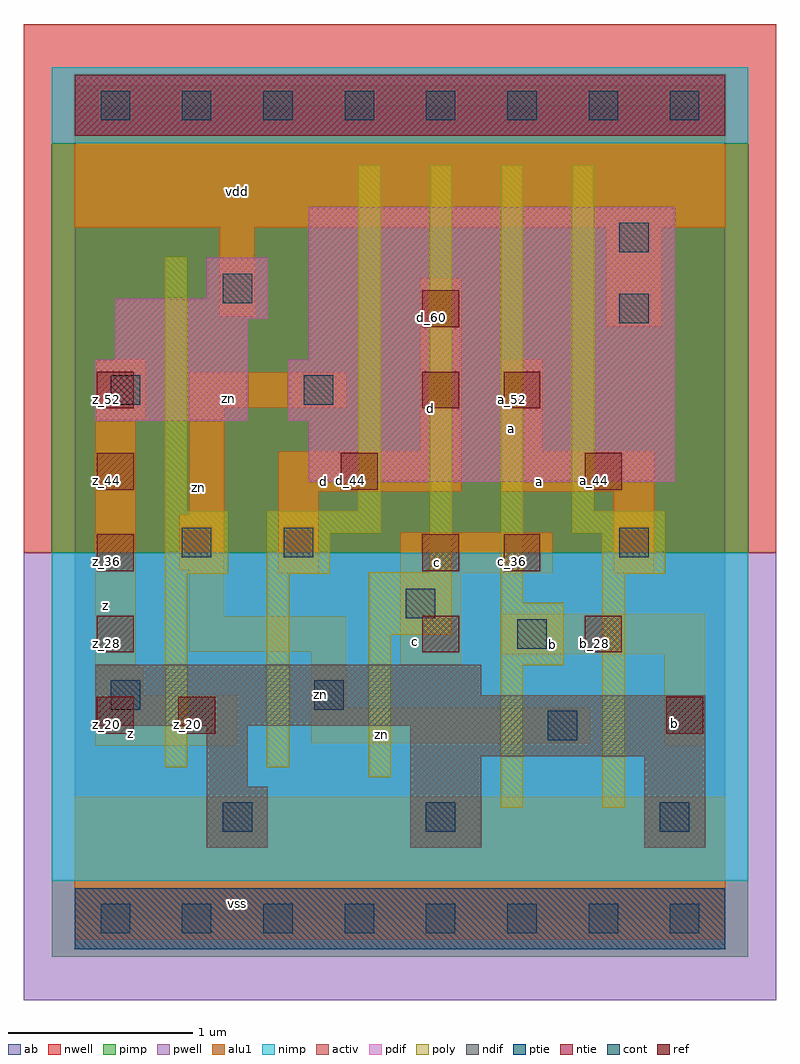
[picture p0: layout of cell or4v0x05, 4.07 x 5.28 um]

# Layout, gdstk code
import gdstk
lib = gdstk.Library(unit=1e-6, precision=2.5e-09)
def R(c, l, rs):  # rectangles x0, y0, x1, y1
    for r in rs: c.add(gdstk.rectangle(r[:2], r[2:], *l))
def A(c, l, x, y, w, h, nx, ny, dx, dy):  # array of equal rectangles
    R(c, l, [(x+i*dx, y+j*dy, x+i*dx+w, y+j*dy+h) for i in range(nx) for j in range(ny)])
ndif = (3, 0)
pdif = (4, 0)
ntie = (5, 0)
ptie = (6, 0)
ref = (24, 0)
cont = (25, 0)
pwell = (41, 0)
nwell = (42, 0)
activ = (43, 0)
pimp = (44, 0)
nimp = (45, 0)
poly = (46, 0)
alu1 = (49, 0)
ab = (63, 0)

or4v0x05 = lib.new_cell('or4v0x05')
R(or4v0x05, ndif, [(0.715,0.385,1.045,0.715), (1.815,0.385,2.2,0.88), (3.08,0.385,3.41,0.88), (0.715,0.715,0.935,1.045), (1.815,0.88,3.41,1.045), (0.11,1.045,3.41,1.21), (0.11,1.21,2.2,1.375)])
R(or4v0x05, pdif, [(1.265,2.365,3.245,2.695), (0.11,2.695,0.935,3.025), (1.155,2.695,3.245,3.025), (0.22,3.025,0.935,3.245), (1.265,3.025,3.245,3.85), (0.22,3.245,1.045,3.355), (0.715,3.355,1.045,3.575)])
R(or4v0x05, ntie, [(0,4.235,3.52,4.565)])
R(or4v0x05, ptie, [(0,-0.165,3.52,0.165)])
A(or4v0x05, ref, 0.12, 1, 0.2, 0.2, 1, 3, 0, 0.44)
A(or4v0x05, ref, 0.12, 2.32, 0.2, 0.2, 3, 1, 1.32, 0)
R(or4v0x05, ref, [(0.56,1,0.76,1.2), (3.2,1,3.4,1.2), (1.88,1.44,2.08,1.64), (2.76,1.44,2.96,1.64), (1.88,1.88,2.08,2.08), (2.32,1.88,2.52,2.08), (0.12,2.76,0.32,2.96), (1.88,2.76,2.08,2.96), (2.32,2.76,2.52,2.96), (1.88,3.2,2.08,3.4)])
A(or4v0x05, cont, 0.14, -0.08, 0.16, 0.16, 8, 2, 0.44, 4.4)
R(or4v0x05, cont, [(0.8,0.47,0.96,0.63), (1.9,0.47,2.06,0.63), (3.165,0.47,3.325,0.63), (2.56,0.965,2.72,1.125), (0.195,1.13,0.355,1.29), (1.295,1.13,1.455,1.29), (2.395,1.46,2.555,1.62), (1.79,1.625,1.95,1.785), (0.58,1.955,0.74,2.115), (1.13,1.955,1.29,2.115), (2.945,1.955,3.105,2.115), (0.195,2.78,0.355,2.94), (1.24,2.78,1.4,2.94), (2.945,3.22,3.105,3.38), (0.8,3.33,0.96,3.49), (2.945,3.605,3.105,3.765)])
R(or4v0x05, pwell, [(-0.275,-0.44,3.795,1.98)])
R(or4v0x05, nwell, [(-0.275,1.98,3.795,4.84)])
R(or4v0x05, activ, [(0,-0.165,3.52,0.165), (0.715,0.385,1.045,0.715), (1.815,0.385,2.2,0.88), (3.08,0.385,3.41,0.88), (0.715,0.715,0.935,1.045), (1.815,0.88,3.41,1.045), (0.11,1.045,3.41,1.21), (0.11,1.21,2.2,1.375), (1.265,2.365,3.245,2.695), (0.11,2.695,0.935,3.025), (1.155,2.695,3.245,3.025), (0.22,3.025,0.935,3.245), (1.265,3.025,3.245,3.85), (0.22,3.245,1.045,3.355), (0.715,3.355,1.045,3.575), (0,4.235,3.52,4.565)])
R(or4v0x05, pimp, [(-0.125,-0.205,3.645,0.205), (-0.125,1.98,3.645,4.195)])
R(or4v0x05, nimp, [(-0.125,0.205,3.645,1.98), (-0.125,4.195,3.645,4.605)])
R(or4v0x05, poly, [(2.305,0.6,2.425,1.37), (2.855,0.6,2.975,1.865), (1.59,0.765,1.71,1.535), (0.49,0.82,0.61,1.865), (1.04,0.82,1.16,1.865), (2.305,1.37,2.645,1.71), (1.59,1.535,2.04,1.875), (2.305,1.71,2.425,4.075), (0.49,1.865,0.83,2.205), (1.04,1.865,1.38,2.085), (2.855,1.865,3.195,2.085), (1.92,1.875,2.04,4.075), (1.04,2.085,1.655,2.205), (2.69,2.085,3.195,2.205), (0.49,2.205,0.61,3.58), (1.535,2.205,1.655,4.075), (2.69,2.205,2.81,4.075)])
R(or4v0x05, alu1, [(0,-0.11,3.52,0.66), (0.11,0.935,0.88,1.21), (3.19,0.935,3.41,1.43), (1.28,0.95,2.79,1.14), (1.28,1.14,1.47,1.445), (0.11,1.21,0.37,1.36), (0.11,1.36,0.33,2.695), (1.76,1.375,2.09,1.87), (2.31,1.43,3.41,1.65), (0.62,1.445,1.47,1.635), (0.62,1.635,0.81,1.885), (1.1,1.87,1.32,2.31), (1.76,1.87,2.585,2.09), (2.915,1.87,3.135,2.31), (0.565,1.885,0.81,2.185), (0.62,2.185,0.81,2.765), (1.1,2.31,2.09,2.53), (2.31,2.31,3.135,2.53), (1.87,2.53,2.09,3.465), (2.31,2.53,2.53,3.025), (0.11,2.695,0.385,3.025), (0.62,2.765,1.47,2.955), (2.875,3.205,3.175,3.74), (0.785,3.26,0.975,3.74), (0,3.74,3.52,4.51)])
R(or4v0x05, ab, [(0,0,3.52,4.4)])
or4v0x05.add(gdstk.Label('vss', (0.88,0.0825), layer=49, texttype=0))
or4v0x05.add(gdstk.Label('b', (3.245,1.0575), layer=49, texttype=0))
or4v0x05.add(gdstk.Label('zn', (1.6575,0.9975), layer=49, texttype=0))
or4v0x05.add(gdstk.Label('b', (2.585,1.485), layer=49, texttype=0))
or4v0x05.add(gdstk.Label('c', (1.8425,1.4975), layer=49, texttype=0))
or4v0x05.add(gdstk.Label('zn', (1.3275,1.215), layer=49, texttype=0))
or4v0x05.add(gdstk.Label('z', (0.3025,1.0025), layer=49, texttype=0))
or4v0x05.add(gdstk.Label('c', (1.965,1.925), layer=49, texttype=0))
or4v0x05.add(gdstk.Label('a', (2.515,2.365), layer=49, texttype=0))
or4v0x05.add(gdstk.Label('a', (2.365,2.6525), layer=49, texttype=0))
or4v0x05.add(gdstk.Label('d', (1.3475,2.365), layer=49, texttype=0))
or4v0x05.add(gdstk.Label('d', (1.925,2.7625), layer=49, texttype=0))
or4v0x05.add(gdstk.Label('zn', (0.6675,2.33), layer=49, texttype=0))
or4v0x05.add(gdstk.Label('z', (0.165,1.6925), layer=49, texttype=0))
or4v0x05.add(gdstk.Label('zn', (0.8325,2.8125), layer=49, texttype=0))
or4v0x05.add(gdstk.Label('vdd', (0.88,3.9325), layer=49, texttype=0))
or4v0x05.add(gdstk.Label('b_20', (3.25,1.05), layer=24, texttype=0))
or4v0x05.add(gdstk.Label('a_44', (2.81,2.37), layer=24, texttype=0))
or4v0x05.add(gdstk.Label('b_28', (2.81,1.49), layer=24, texttype=0))
or4v0x05.add(gdstk.Label('a_52', (2.37,2.81), layer=24, texttype=0))
or4v0x05.add(gdstk.Label('c_36', (2.37,1.93), layer=24, texttype=0))
or4v0x05.add(gdstk.Label('z_52', (0.17,2.81), layer=24, texttype=0))
or4v0x05.add(gdstk.Label('z_44', (0.17,2.37), layer=24, texttype=0))
or4v0x05.add(gdstk.Label('z_36', (0.17,1.93), layer=24, texttype=0))
or4v0x05.add(gdstk.Label('z_28', (0.17,1.49), layer=24, texttype=0))
or4v0x05.add(gdstk.Label('z_20', (0.17,1.05), layer=24, texttype=0))
or4v0x05.add(gdstk.Label('d_60', (1.93,3.25), layer=24, texttype=0))
or4v0x05.add(gdstk.Label('d_52', (1.93,2.81), layer=24, texttype=0))
or4v0x05.add(gdstk.Label('c_36', (1.93,1.93), layer=24, texttype=0))
or4v0x05.add(gdstk.Label('c_28', (1.93,1.49), layer=24, texttype=0))
or4v0x05.add(gdstk.Label('d_44', (1.49,2.37), layer=24, texttype=0))
or4v0x05.add(gdstk.Label('z_20', (0.61,1.05), layer=24, texttype=0))

lib.write_gds('or4v0x05.gds')
